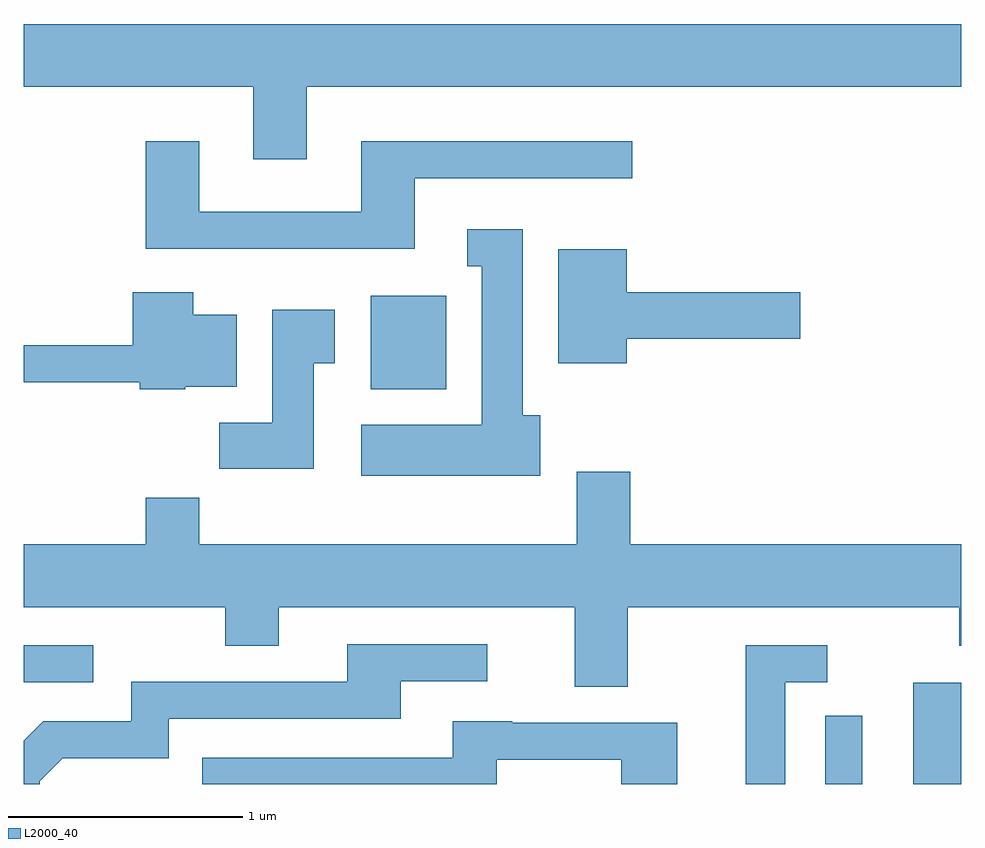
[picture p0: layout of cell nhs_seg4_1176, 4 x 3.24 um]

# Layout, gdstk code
import gdstk
lib = gdstk.Library(unit=1e-6, precision=1e-09)
def R(c, l, rs):  # rectangles x0, y0, x1, y1
    for r in rs: c.add(gdstk.rectangle(r[:2], r[2:], *l))
def P(c, l, *ps):  # polygons
    for p in ps: c.add(gdstk.Polygon(p, *l))
L2000_40 = (2000, 40)

nhs_seg4_1176 = lib.new_cell('nhs_seg4_1176')
R(nhs_seg4_1176, L2000_40, [(223.031,1293.982,223.189,1294.273), (223.406,1293.982,223.611,1294.414), (219.611,1294.416,219.908,1294.574), (221.091,1295.666,221.414,1296.064)])
P(nhs_seg4_1176, L2000_40, [(220.819,1296.956),(223.611,1296.956),(223.611,1297.224),(219.611,1297.224),(219.611,1296.956),(220.591,1296.956),(220.591,1296.646),(220.819,1296.646)],
  [(221.279,1296.566),(222.208,1296.566),(222.208,1296.724),(221.051,1296.724),(221.051,1296.424),(220.359,1296.424),(220.359,1296.724),(220.131,1296.724),(220.131,1296.266),(221.279,1296.266)],
  [(221.814,1295.554),(221.739,1295.554),(221.739,1296.349),(221.503,1296.349),(221.503,1296.191),(221.566,1296.191),(221.566,1295.514),(221.051,1295.514),(221.051,1295.296),(221.814,1295.296)],
  [(222.184,1295.881),(222.924,1295.881),(222.924,1296.079),(222.184,1296.079),(222.184,1296.264),(221.891,1296.264),(221.891,1295.776),(222.184,1295.776)],
  [(220.3,1295.676),(220.519,1295.676),(220.519,1295.984),(220.334,1295.984),(220.334,1296.079),(220.076,1296.079),(220.076,1295.854),(219.611,1295.854),(219.611,1295.696),(220.106,1295.696),(220.106,1295.666),(220.3,1295.666)],
  [(220.849,1295.776),(220.939,1295.776),(220.939,1296.004),(220.671,1296.004),(220.671,1295.524),(220.446,1295.524),(220.446,1295.326),(220.849,1295.326)],
  [(222.189,1294.736),(223.601,1294.736),(223.601,1294.571),(223.611,1294.571),(223.611,1295.004),(222.199,1295.004),(222.199,1295.314),(221.971,1295.314),(221.971,1295.004),(220.359,1295.004),(220.359,1295.204),(220.131,1295.204),(220.131,1295.004),(219.611,1295.004),(219.611,1294.736),(220.471,1294.736),(220.471,1294.571),(220.699,1294.571),(220.699,1294.736),(221.961,1294.736),(221.961,1294.396),(222.189,1294.396)],
  [(219.679,1293.994),(219.777,1294.091),(220.229,1294.091),(220.229,1294.261),(221.219,1294.261),(221.219,1294.421),(221.588,1294.421),(221.588,1294.579),(220.991,1294.579),(220.991,1294.419),(220.071,1294.419),(220.071,1294.249),(219.694,1294.249),(219.611,1294.166),(219.611,1293.982),(219.679,1293.982)],
  [(222.859,1294.416),(223.038,1294.416),(223.038,1294.574),(222.691,1294.574),(222.691,1293.982),(222.859,1293.982)],
  [(221.629,1294.086),(222.161,1294.086),(222.161,1293.982),(222.399,1293.982),(222.399,1294.244),(221.695,1294.244),(221.695,1294.249),(221.441,1294.249),(221.441,1294.094),(220.373,1294.094),(220.373,1293.982),(221.629,1293.982)])

lib.write_gds('nhs_seg4_1176.gds')
